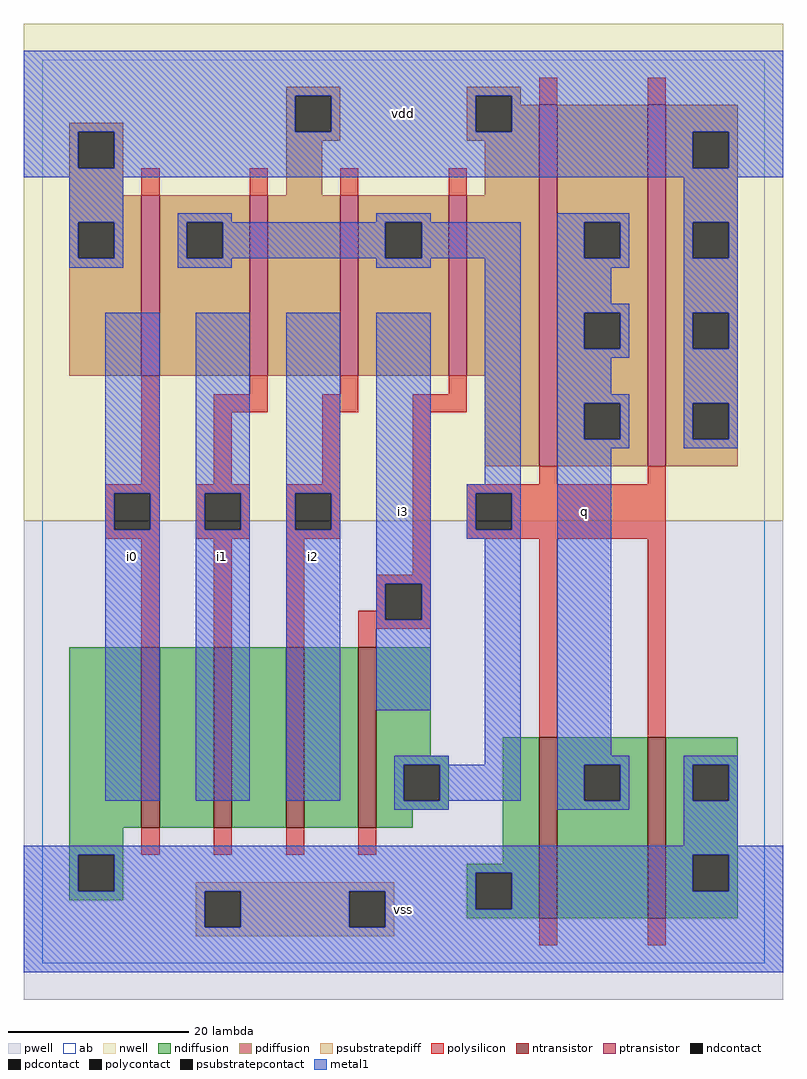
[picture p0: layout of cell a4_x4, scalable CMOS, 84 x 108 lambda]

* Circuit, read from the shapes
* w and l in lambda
.subckt a4_x4 i0 i1 i2 i3 q vdd vss
M1 n1 i0 vss vss nfet w=20 l=2
M2 n2 i1 n1 vss nfet w=20 l=2
M3 n3 i2 n2 vss nfet w=20 l=2
M4 n4 i3 n3 vss nfet w=20 l=2
M5 q n4 vss vss nfet w=20 l=2 m=2
M6 n4 i0 vdd n5 pfet w=20 l=2
M7 vdd i1 n4 n5 pfet w=20 l=2
M8 n4 i2 vdd n5 pfet w=20 l=2
M9 vdd i3 n4 n5 pfet w=20 l=2
M10 q n4 vdd n5 pfet w=40 l=2 m=2
.ends

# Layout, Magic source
magic
tech scmos
<< ab >>
rect 0 0 80 100
<< pwell >>
rect -2 -4 82 49
<< nwell >>
rect -2 49 82 104
<< polysilicon >>
rect 55 95 57 98
rect 67 95 69 98
rect 11 85 13 88
rect 23 85 25 88
rect 33 85 35 88
rect 45 85 47 88
rect 11 53 13 65
rect 23 63 25 65
rect 33 63 35 65
rect 45 63 47 65
rect 19 61 25 63
rect 31 61 35 63
rect 41 61 47 63
rect 19 53 21 61
rect 31 53 33 61
rect 7 52 13 53
rect 7 48 8 52
rect 12 48 13 52
rect 7 47 13 48
rect 17 52 23 53
rect 17 48 18 52
rect 22 48 23 52
rect 17 47 23 48
rect 27 52 33 53
rect 27 48 28 52
rect 32 48 33 52
rect 27 47 33 48
rect 11 35 13 47
rect 19 35 21 47
rect 27 35 29 47
rect 41 43 43 61
rect 55 53 57 55
rect 67 53 69 55
rect 47 52 69 53
rect 47 48 48 52
rect 52 48 69 52
rect 47 47 69 48
rect 37 42 43 43
rect 37 39 38 42
rect 35 38 38 39
rect 42 38 43 42
rect 35 37 43 38
rect 35 35 37 37
rect 55 25 57 47
rect 67 25 69 47
rect 11 12 13 15
rect 19 12 21 15
rect 27 12 29 15
rect 35 12 37 15
rect 55 2 57 5
rect 67 2 69 5
<< ndiffusion >>
rect 3 15 11 35
rect 13 15 19 35
rect 21 15 27 35
rect 29 15 35 35
rect 37 23 43 35
rect 37 22 45 23
rect 37 18 40 22
rect 44 18 45 22
rect 37 17 45 18
rect 37 15 41 17
rect 3 12 9 15
rect 3 8 4 12
rect 8 8 9 12
rect 51 11 55 25
rect 47 10 55 11
rect 3 7 9 8
rect 47 6 48 10
rect 52 6 55 10
rect 47 5 55 6
rect 57 22 67 25
rect 57 18 60 22
rect 64 18 67 22
rect 57 5 67 18
rect 69 22 77 25
rect 69 18 72 22
rect 76 18 77 22
rect 69 12 77 18
rect 69 8 72 12
rect 76 8 77 12
rect 69 5 77 8
<< pdiffusion >>
rect 27 96 33 97
rect 3 92 9 93
rect 3 88 4 92
rect 8 88 9 92
rect 27 92 28 96
rect 32 92 33 96
rect 27 91 33 92
rect 47 96 53 97
rect 47 92 48 96
rect 52 95 53 96
rect 52 92 55 95
rect 47 91 55 92
rect 3 85 9 88
rect 27 85 31 91
rect 49 85 55 91
rect 3 82 11 85
rect 3 78 4 82
rect 8 78 11 82
rect 3 65 11 78
rect 13 82 23 85
rect 13 78 16 82
rect 20 78 23 82
rect 13 65 23 78
rect 25 65 33 85
rect 35 82 45 85
rect 35 78 38 82
rect 42 78 45 82
rect 35 65 45 78
rect 47 65 55 85
rect 49 55 55 65
rect 57 82 67 95
rect 57 78 60 82
rect 64 78 67 82
rect 57 72 67 78
rect 57 68 60 72
rect 64 68 67 72
rect 57 62 67 68
rect 57 58 60 62
rect 64 58 67 62
rect 57 55 67 58
rect 69 92 77 95
rect 69 88 72 92
rect 76 88 77 92
rect 69 82 77 88
rect 69 78 72 82
rect 76 78 77 82
rect 69 72 77 78
rect 69 68 72 72
rect 76 68 77 72
rect 69 62 77 68
rect 69 58 72 62
rect 76 58 77 62
rect 69 55 77 58
<< metal1 >>
rect -2 96 82 101
rect -2 92 28 96
rect 32 92 48 96
rect 52 92 82 96
rect -2 88 4 92
rect 8 88 72 92
rect 76 88 82 92
rect -2 87 82 88
rect 3 82 9 87
rect 3 78 4 82
rect 8 78 9 82
rect 3 77 9 78
rect 15 82 21 83
rect 37 82 43 83
rect 57 82 65 83
rect 15 78 16 82
rect 20 78 38 82
rect 42 78 53 82
rect 15 77 21 78
rect 37 77 43 78
rect 7 52 13 72
rect 7 48 8 52
rect 12 48 13 52
rect 7 18 13 48
rect 17 52 23 72
rect 17 48 18 52
rect 22 48 23 52
rect 17 18 23 48
rect 27 52 33 72
rect 27 48 28 52
rect 32 48 33 52
rect 27 18 33 48
rect 37 42 43 72
rect 49 53 53 78
rect 47 52 53 53
rect 47 48 48 52
rect 52 48 53 52
rect 47 47 53 48
rect 37 38 38 42
rect 42 38 43 42
rect 37 28 43 38
rect 39 22 45 23
rect 49 22 53 47
rect 39 18 40 22
rect 44 18 53 22
rect 57 78 60 82
rect 64 78 65 82
rect 57 77 65 78
rect 71 82 77 87
rect 71 78 72 82
rect 76 78 77 82
rect 57 73 63 77
rect 57 72 65 73
rect 57 68 60 72
rect 64 68 65 72
rect 57 67 65 68
rect 71 72 77 78
rect 71 68 72 72
rect 76 68 77 72
rect 57 63 63 67
rect 57 62 65 63
rect 57 58 60 62
rect 64 58 65 62
rect 57 57 65 58
rect 71 62 77 68
rect 71 58 72 62
rect 76 58 77 62
rect 71 57 77 58
rect 57 23 63 57
rect 57 22 65 23
rect 57 18 60 22
rect 64 18 65 22
rect 39 17 45 18
rect 57 17 65 18
rect 71 22 77 23
rect 71 18 72 22
rect 76 18 77 22
rect 71 13 77 18
rect -2 12 82 13
rect -2 8 4 12
rect 8 10 72 12
rect 8 8 48 10
rect -2 4 18 8
rect 22 4 34 8
rect 38 6 48 8
rect 52 8 72 10
rect 76 8 82 12
rect 52 6 82 8
rect 38 4 82 6
rect -2 -1 82 4
<< ntransistor >>
rect 11 15 13 35
rect 19 15 21 35
rect 27 15 29 35
rect 35 15 37 35
rect 55 5 57 25
rect 67 5 69 25
<< ptransistor >>
rect 11 65 13 85
rect 23 65 25 85
rect 33 65 35 85
rect 45 65 47 85
rect 55 55 57 95
rect 67 55 69 95
<< polycontact >>
rect 8 48 12 52
rect 18 48 22 52
rect 28 48 32 52
rect 48 48 52 52
rect 38 38 42 42
<< ndcontact >>
rect 40 18 44 22
rect 4 8 8 12
rect 48 6 52 10
rect 60 18 64 22
rect 72 18 76 22
rect 72 8 76 12
<< pdcontact >>
rect 4 88 8 92
rect 28 92 32 96
rect 48 92 52 96
rect 4 78 8 82
rect 16 78 20 82
rect 38 78 42 82
rect 60 78 64 82
rect 60 68 64 72
rect 60 58 64 62
rect 72 88 76 92
rect 72 78 76 82
rect 72 68 76 72
rect 72 58 76 62
<< psubstratepcontact >>
rect 18 4 22 8
rect 34 4 38 8
<< psubstratepdiff >>
rect 17 8 39 9
rect 17 4 18 8
rect 22 4 34 8
rect 38 4 39 8
rect 17 3 39 4
<< labels >>
rlabel metal1 10 45 10 45 6 i0
rlabel metal1 10 45 10 45 6 i0
rlabel metal1 20 45 20 45 6 i1
rlabel metal1 20 45 20 45 6 i1
rlabel metal1 30 45 30 45 6 i2
rlabel metal1 30 45 30 45 6 i2
rlabel metal1 40 6 40 6 6 vss
rlabel metal1 40 6 40 6 6 vss
rlabel metal1 60 50 60 50 6 q
rlabel metal1 60 50 60 50 6 q
rlabel metal1 40 50 40 50 6 i3
rlabel metal1 40 50 40 50 6 i3
rlabel metal1 40 94 40 94 6 vdd
rlabel metal1 40 94 40 94 6 vdd
<< end >>
